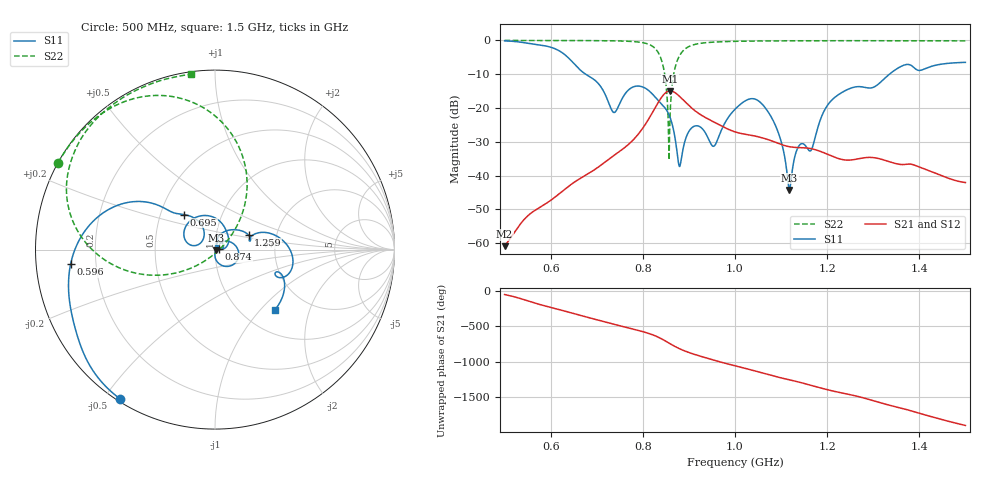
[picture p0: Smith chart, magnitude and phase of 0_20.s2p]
! TOUCHSTONE file generated by CST MICROWAVE STUDIO
! Date and time: Sat Oct 24 11:13:49 2020
! Project name: Scenario_1_Circular_Tissue_in_Line.cst
! Parameters = {L_HA=400; MT=2.54; Rad_Dielectric=30; Rad_Lower=7.3; Rad_Upper=30; a_HA=580; a_WG=246; b_HA=500; b_WG=121; c_HA=0; c_WG=187; d_feed=85; dx1=502.08; h_feed=15; h_lower=18; h_upper=40}
! Header version: 2018
! Port assignment regex: !\s*Touchstone port\s*([0-9]+)\s*=\s*(CST MWS port|CST DS port)\s*([0-9]+|Zmin|Zmax)\s*\(\"(.*)\"\)(\s*mode\s*([0-9]+))?.*
! Touchstone port assignment:
! Touchstone port 1 = CST MWS port 1 ("")
! Touchstone port 2 = CST MWS port 2 ("")
# GHz S DB R 50
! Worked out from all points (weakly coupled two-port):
!   1003 points, 500 MHz to 1.5 GHz, reference 50 ohm
!   highest |S21| = -14.95 dB at 859 MHz (marker M1); lowest = -60.9 dB at 500 MHz (marker M2)
!   lowest |S11| = -44.2 dB at 1.118 GHz (marker M3), VSWR 1.01, Z = 50.5 - j0.317 ohm
!   |S11| at or under -10 dB: 675.9 MHz to 1.335 GHz (659.2 MHz wide, 65.6 % of centre)
!   |S22| runs from -35.4 to 0.0 dB; largest |S21 - S12| = 3.9e-05
!   S11 on the Smith chart (normalised r, x): 500 MHz: 0.01, -0.55; 596 MHz: 0.11, -0.05; 695 MHz: 0.66, +0.28; 874 MHz: 1.05, +0.00; 1.259 GHz: 1.44, +0.24; 1.5 GHz: 1.39, -1.21
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0.5  -0.13 -122.4  -60.91 -50.1  -60.91 -50.1  -0.01 151.1
0.596  -1.85 -174.4  -47.73 134.8  -47.73 134.8  -0.02 144.4
0.667  -9.09 140.3  -40.62 9.6  -40.62 9.6  -0.04 138.3
0.695  -11.68 131.5  -38.28 -38.3  -38.28 -38.3  -0.06 135.4
0.737  -21.32 144.4  -34.08 -110.0  -34.08 -110.0  -0.12 129.7
0.783  -13.59 139.3  -28.87 173.5  -28.87 173.5  -0.37 119.1
0.834  -17.89 62.5  -18.23 64.3  -18.23 64.3  -3.73 81.8
0.859  -22.76 19.0  -14.95 -26.4  -14.95 -26.4  -22.54 -129.9
0.874  -32.76 3.0  -15.89 -80.1  -15.89 -80.1  -6.23 -165.4
0.881  -36.98 55.2  -16.74 -101.8  -16.74 -101.8  -4.20 -174.6
0.915  -25.27 40.7  -21.01 176.3  -21.01 176.3  -1.10 159.8
0.955  -31.24 32.2  -24.21 99.0  -24.21 99.0  -0.49 147.5
1  -20.38 26.2  -27.07 20.8  -27.07 20.8  -0.27 140.1
1.067  -20.19 -65.6  -29.15 -94.8  -29.15 -94.8  -0.15 132.6
1.097  -28.50 -90.3  -30.63 -145.9  -30.63 -145.9  -0.13 129.9
1.118  -44.25 -30.7  -31.46 -178.0  -31.46 -178.0  -0.11 128.1
1.138  -31.36 23.6  -31.71 151.0  -31.71 151.0  -0.11 126.4
1.167  -32.04 56.2  -32.09 100.1  -32.09 100.1  -0.10 124.1
1.201  -19.15 63.3  -33.71 41.1  -33.71 41.1  -0.09 121.5
1.259  -13.82 23.5  -35.27 -41.5  -35.27 -41.5  -0.08 117.0
1.334  -10.13 17.4  -35.86 -176.2  -35.86 -176.2  -0.09 111.4
1.5  -6.49 -45.3  -42.07 -104.5  -42.03 -104.3  -0.13 97.8
